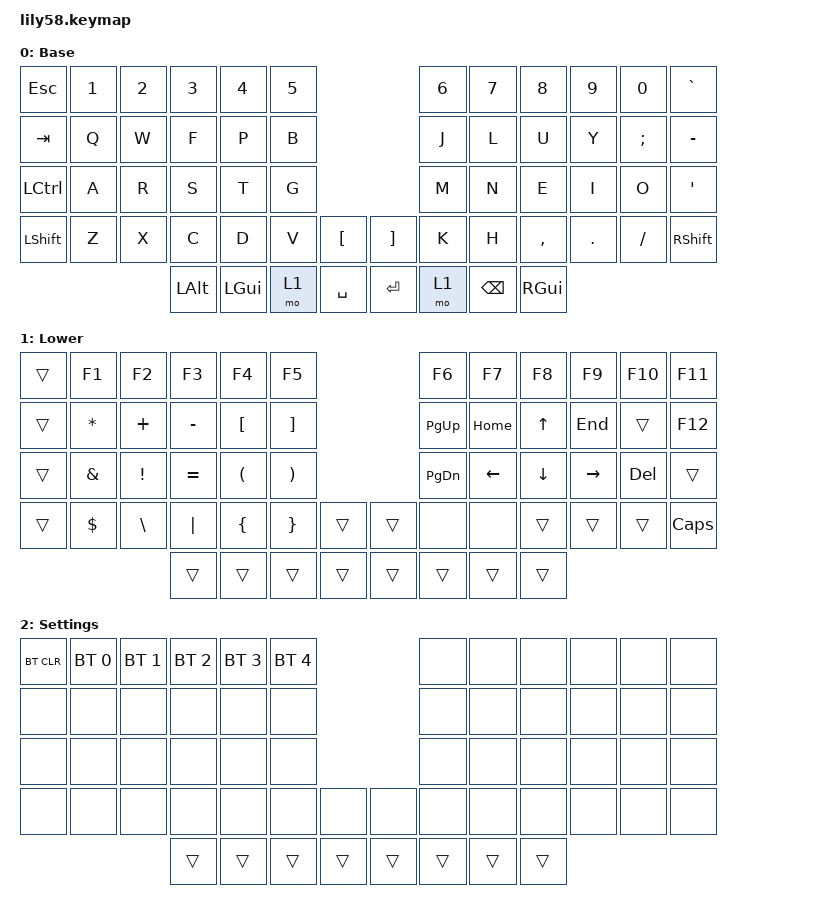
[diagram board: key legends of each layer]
/*
 * Copyright (c) 2020 The ZMK Contributors
 *
 * SPDX-License-Identifier: MIT
 */

#include <behaviors.dtsi>
#include <dt-bindings/zmk/bt.h>
#include <dt-bindings/zmk/keys.h>

/ {
    combos {
        compatible = "zmk,combos";

        combo_settings {
            bindings = <&mo 2>;
            key-positions = <52 55>;
        };
    };

    keymap {
        compatible = "zmk,keymap";

        default_layer {
            display-name = "Base";
            bindings = <
&kp ESC    &kp N1  &kp N2  &kp N3    &kp N4    &kp N5                          &kp N6  &kp N7    &kp N8     &kp N9   &kp N0    &kp GRAVE
&kp TAB    &kp Q   &kp W   &kp F     &kp P     &kp B                           &kp J   &kp L     &kp U      &kp Y    &kp SEMI  &kp MINUS
&kp LCTRL  &kp A   &kp R   &kp S     &kp T     &kp G                           &kp M   &kp N     &kp E      &kp I    &kp O     &kp SQT
&kp LSHFT  &kp Z   &kp X   &kp C     &kp D     &kp V   &kp LBKT     &kp RBKT   &kp K   &kp H     &kp COMMA  &kp DOT  &kp FSLH  &kp RSHFT
                           &kp LALT  &kp LGUI  &mo 1   &kp SPACE    &kp ENTER  &mo 1   &kp BSPC  &kp RGUI
            >;
        };

        lower_layer {
            display-name = "Lower";
            bindings = <
&trans  &kp F1         &kp F2         &kp F3     &kp F4    &kp F5                      &kp F6     &kp F7    &kp F8    &kp F9     &kp F10  &kp F11
&trans  &kp STAR       &kp PLUS       &kp MINUS  &kp LBKT  &kp RBKT                    &kp PG_UP  &kp HOME  &kp UP    &kp END    &trans   &kp F12
&trans  &kp AMPERSAND  &kp EXCL       &kp EQUAL  &kp LPAR  &kp RPAR                    &kp PG_DN  &kp LEFT  &kp DOWN  &kp RIGHT  &kp DEL  &trans
&trans  &kp DOLLAR     &kp BACKSLASH  &kp PIPE   &kp LBRC  &kp RBRC  &trans    &trans  &none      &none     &trans    &trans     &trans   &kp CAPS
                                      &trans     &trans    &trans    &trans    &trans  &trans     &trans    &trans
            >;
        };

        settings_layer {
            bindings = <
&bt BT_CLR  &bt BT_SEL 0  &bt BT_SEL 1  &bt BT_SEL 2  &bt BT_SEL 3  &bt BT_SEL 4                    &none   &none   &none   &none  &none  &none
&none       &none         &none         &none         &none         &none                           &none   &none   &none   &none  &none  &none
&none       &none         &none         &none         &none         &none                           &none   &none   &none   &none  &none  &none
&none       &none         &none         &none         &none         &none         &none     &none   &none   &none   &none   &none  &none  &none
                                        &trans        &trans        &trans        &trans    &trans  &trans  &trans  &trans
            >;

            label = "Settings";
        };
    };
};
